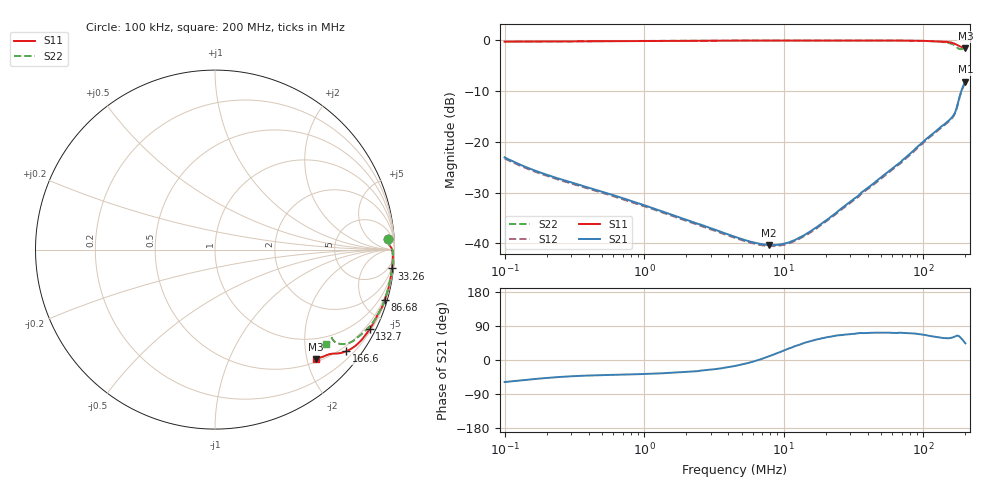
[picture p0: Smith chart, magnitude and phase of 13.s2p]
#  HZ  S  RI  R  50.00
! Rohde & Schwarz Vector Network Analyzer
! Rohde-Schwarz,ZNLE6-2Port,1323001256200024,1.71.1.10-23.02.1.238
! Created: UTC 4/8/2025, 4:46:19 AM
! freq[Hz]  re:S11  im:S11  re:S21  im:S21  re:S12  im:S12  re:S22  im:S22
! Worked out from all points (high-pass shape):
!   1001 points, 100 kHz to 200 MHz, reference 50 ohm
!   highest |S21| = -8.17 dB at 200 MHz (marker M1); lowest = -40.3 dB at 7.789 MHz (marker M2)
!   |S21| within 3 dB of the highest: 181.6 MHz to end of sweep
!   lowest |S11| = -1.6 dB at 200 MHz (marker M3), VSWR 10.75, Z = 27.8 - j109 ohm
!   |S11| at or under -10 dB: nowhere
!   |S22| runs from -1.8 to -0.1 dB; largest |S21 - S12| = 0.0065
!   S11 on the Smith chart (normalised r, x): 100 kHz: 14, +24; 33.26 MHz: 1, -19; 86.68 MHz: 0.34, -6.87; 132.7 MHz: 0.29, -4.14; 166.6 MHz: 0.37, -2.88; 200 MHz: 0.56, -2.17
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100000  0.9634 0.0591  0.0371 -0.0596  0.0361 -0.0582  0.9643 0.0576
174170.7  0.9673 0.0377  0.033 -0.0384  0.0322 -0.0375  0.9682 0.0369
355854.1  0.9725 0.0237  0.0277 -0.0247  0.027 -0.0241  0.9733 0.0232
1266322  0.9827 0.00923  0.0173 -0.0124  0.0169 -0.0121  0.9831 0.00917
4472136  0.9887 -0.00784  0.0112 -0.00314  0.0108 -0.0032  0.9894 -0.00617
6200965  0.9896 -0.0142  0.0101 -0.000538  0.00987 -0.00062  0.9901 -0.0129
7789152  0.9904 -0.0204  0.00948 0.00161  0.00935 0.0013  0.9905 -0.0184
9277135  0.9904 -0.0252  0.00916 0.00334  0.00896 0.00314  0.9909 -0.0236
1.080027e7  0.9908 -0.0308  0.00884 0.0051  0.00876 0.00475  0.991 -0.0285
1.276607e7  0.9906 -0.0369  0.0087 0.00717  0.00851 0.00696  0.991 -0.0351
1.591428e7  0.9905 -0.0477  0.00852 0.0104  0.00842 0.01  0.991 -0.0449
3.326495e7  0.9863 -0.1048  0.00982 0.0268  0.0103 0.0259  0.9872 -0.0987
5.663162e7  0.9742 -0.1811  0.0158 0.0488  0.0164 0.0471  0.9762 -0.1711
8.667956e7  0.9455 -0.2804  0.029 0.0788  0.0298 0.0762  0.9497 -0.2667
1.113911e8  0.9057 -0.3627  0.051 0.1021  0.0513 0.0988  0.9138 -0.3501
1.326705e8  0.8629 -0.4401  0.0714 0.1197  0.071 0.116  0.864 -0.4251
1.53283e8  0.7982 -0.5221  0.0875 0.1376  0.0863 0.134  0.7937 -0.4896
1.6665e8  0.7306 -0.5666  0.0905 0.1649  0.0906 0.1607  0.7187 -0.5261
1.717946e8  0.6995 -0.5763  0.0929 0.1861  0.093 0.1818  0.684 -0.5225
1.798107e8  0.6571 -0.5795  0.1195 0.2342  0.1196 0.2291  0.6542 -0.4981
1.910838e8  0.6113 -0.5928  0.2057 0.2726  0.2045 0.2666  0.6485 -0.4993
2e8  0.5641 -0.6086  0.2812 0.271  0.2783 0.2652  0.6207 -0.5274
